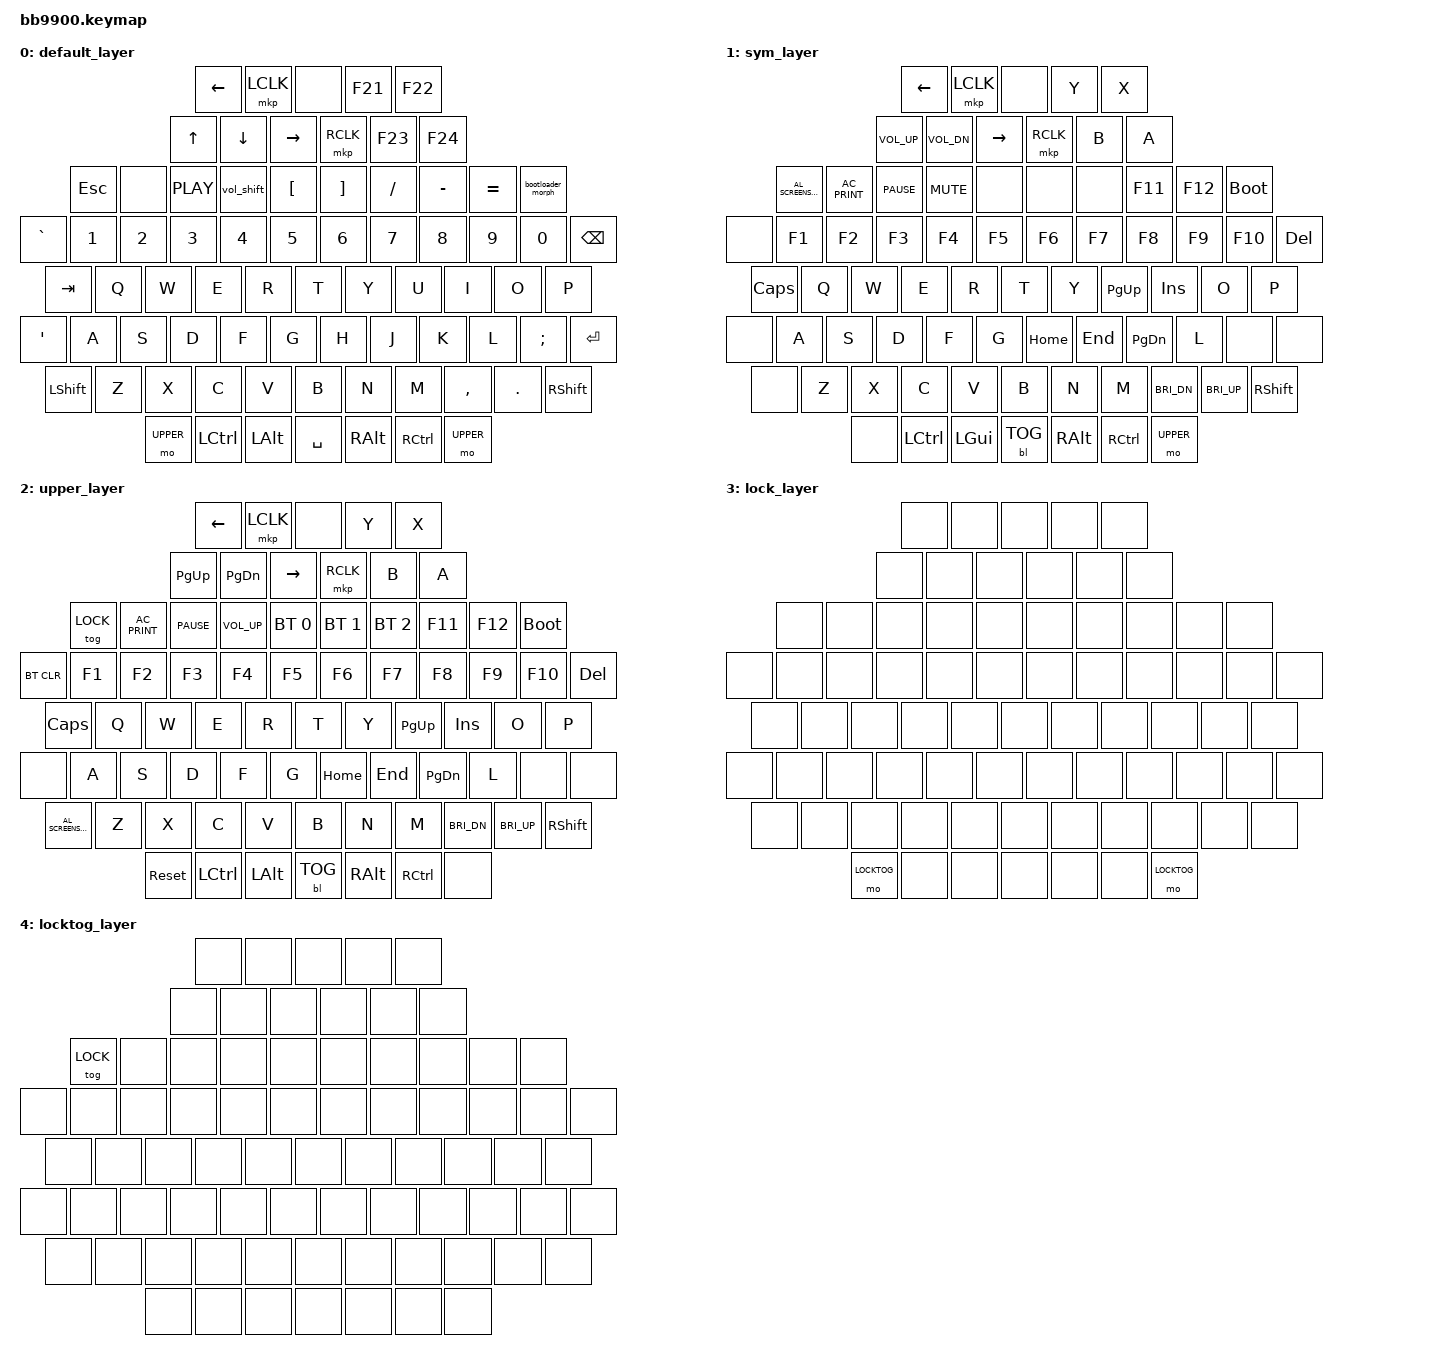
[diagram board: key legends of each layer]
/*
 * Copyright (c) 2023 ZitaoTech
 *
 * SPDX-License-Identifier: MIT
 */
    
#include <behaviors.dtsi>
#include <dt-bindings/zmk/keys.h>
#include <dt-bindings/zmk/bt.h>
#include <dt-bindings/zmk/outputs.h>
#include <dt-bindings/zmk/mouse.h>
#include <dt-bindings/zmk/backlight.h>
#include <dt-bindings/zmk/ext_power.h>
#include <dt-bindings/zmk/modifiers.h>

#define SYM 1
#define UPPER 2
#define LOCK 3
#define LOCKTOG 4 


/ {
    behaviors {
        td0: tap_dance_0 {
            compatible = "zmk,behavior-tap-dance";
            #binding-cells = <0>;
            tapping-term-ms = <400>;
            bindings = <&mkp LCLK>, <&bt BT_CLR>;
        };
    };
    behaviors {
        hm: homerow_mods {
            compatible = "zmk,behavior-hold-tap";
            #binding-cells = <2>;
            tapping-term-ms = <500>;
            bindings = <&out &kp>;
        };
    };

    // Bootloader-combo hardening (see NOTES.md, "flash mode" combo and the
    // Enter key bugfix). Adds Left-Ctrl+Left-Alt+\ as a NEW, additional way
    // into the bootloader, alongside the existing bare Fn+\ binding in
    // sym_layer/upper_layer below (left untouched on purpose. TODO: check
    // with the kb maker before ever removing it, other users may already
    // rely on the documented Fn+\).
    //
    // Originally implemented as a ZMK `combos` block, which turned out to
    // silently break the Enter key (confirmed via bisection across several
    // builds: Enter worked with zero changes, broke the moment any combos
    // block existed, regardless of which keys it referenced). Root cause
    // not fully proven, but not worth re-attempting: this mod-morph
    // approach sidesteps the combo subsystem entirely. Bound directly to
    // the Backslash position instead: normal \ press behaves exactly as
    // before, but pressing it while Ctrl+Alt are held sends &bootloader.
    // Same gesture for the user, a much simpler mechanism under the hood:
    // a per-position modifier check at press time, not global multi-key
    // position tracking with timeouts.
    behaviors {
        bootloader_morph: bootloader_morph {
            compatible = "zmk,behavior-mod-morph";
            #binding-cells = <0>;
            bindings = <&kp BACKSLASH>, <&bootloader>;
            mods = <(MOD_LCTL|MOD_LALT)>;
        };
    };

    // Volume/Mute fix (see NOTES.md): Speaker key alone = Volume Down,
    // Shift+Speaker = Volume Up, matching ClusterM's factory-spec
    // do_the_key() behavior. Both Fn layers separately rebound to Mute.
    // A plain mod-morph can't do this correctly on its own: Consumer-page
    // reports have no modifier byte, so Shift stays reported as held the
    // whole time and breaks strict WM keybind matching. vol_shift is a
    // custom behavior (zmk fork, src/behaviors/behavior_vol_shift.c) that
    // explicitly releases and restores the Shift bit around the press.
    behaviors {
        vol_shift: vol_shift {
            compatible = "zmk,behavior-vol-shift";
            #binding-cells = <0>;
        };
    };

    keymap {
        compatible = "zmk,keymap";

        default_layer {

            bindings = <
//---------------------------------------------------------------------------------------------------------
// |  ←  | ↑   | ↓   | →   |  Mleft  |  Mright |  Trackpad    |  Y  |  B  |  X  |  A  |                                       
// |  ESC   |  SELECT  | Start |                 voive  |   [  |  ]  |   /  |  -  |  =  |  \  |
// |   ~   |  1  |  2  |  3  |  4  |  5  |  6  |  7  |  8  |  9  |  0  |  Backspace  |
// |   TAB   |  Q  |  W  |  E  |  R  |  T  |  Y  |  U  |  I  |  O  |  P  | 
// |    '      |  A  |  S  |  D  |  F  |  G  |  H  |  J  |  K  |  L  |  ;  |     ENTER   |  
// |  LShift  |  Z  |  X  |  C  |  V  |  B  |  N  |  M  |  <  |  >  |  ;  |  RShift  |  
//        |  Fn  |  LCtrl  |  Alt   |      SPACE      |   Alt   |  RCtrl   |  Fn   |  
//        -----------------------------------------------------------------------------------------------------------------
            &kp LEFT                      &mkp LCLK         &none      &kp F21   &kp F22
&kp UP   &kp DOWN &kp RIGHT               &mkp RCLK                       &kp  F23      &kp F24
&kp ESC    &none  &kp C_PLAY &vol_shift    &kp LBKT   &kp RBKT   &kp FSLH   &kp MINUS  &kp  EQUAL &bootloader_morph
&kp GRAVE  &kp N1        &kp N2     &kp N3   &kp N4     &kp N5     &kp N6     &kp N7     &kp N8    &kp N9  &kp N0 &kp BSPC
&kp TAB     &kp Q         &kp W      &kp E    &kp R      &kp T      &kp Y      &kp U      &kp I     &kp O   &kp P
&kp SQT     &kp A         &kp S      &kp D    &kp F      &kp G      &kp H      &kp J      &kp K     &kp L   &kp SEMICOLON &kp ENTER        
&kp LSHFT   &kp Z         &kp X      &kp C    &kp V      &kp B      &kp N      &kp M      &kp COMMA &kp DOT &kp RSHFT
  &mo UPPER   &kp LCTRL               &kp LALT              &kp SPACE           &kp RALT         &kp RCTRL     &mo UPPER        
            >;
        };


        sym_layer {

            bindings = <
        &kp LEFT                      &mkp LCLK         &none      &kp Y   &kp X
&kp K_VOL_UP   &kp K_VOL_DN &kp RIGHT               &mkp RCLK                       &kp  B      &kp A
&kp C_AL_SCREENSAVER  &kp C_AC_PRINT &kp C_PAUSE  &kp C_MUTE &none   &none   &none   &kp F11    &kp F12   &bootloader
&none    &kp F1         &kp F2        &kp F3     &kp F4     &kp F5     &kp F6     &kp F7     &kp F8    &kp F9  &kp F10 &kp DEL
&kp CAPSLOCK    &kp Q          &kp W         &kp E      &kp R      &kp T      &kp Y      &kp PAGE_UP      &kp INSERT     &kp O   &kp P
&none    &kp A          &kp S         &kp D      &kp F      &kp G      &kp HOME      &kp END      &kp PAGE_DOWN     &kp L   &none &none         
&none    &kp Z          &kp X         &kp C      &kp V      &kp B      &kp N      &kp M      &kp C_BRI_DN &kp C_BRI_UP &kp RSHFT
  &none  &kp LCTRL               &kp LGUI             &bl BL_TOG           &kp RALT         &kp RCTRL     &mo UPPER

            >;
        };


        upper_layer {

            bindings = <
        &kp LEFT                      &mkp LCLK         &none      &kp Y   &kp X
&kp PAGE_UP   &kp PAGE_DOWN &kp RIGHT               &mkp RCLK                       &kp  B      &kp A
&tog LOCK  &kp C_AC_PRINT &kp C_PAUSE  &kp K_VOL_UP &bt BT_SEL 0   &bt BT_SEL 1   &bt BT_SEL 2   &kp F11    &kp F12   &bootloader
&bt BT_CLR     &kp F1          &kp F2         &kp F3      &kp F4     &kp F5     &kp F6     &kp F7     &kp F8    &kp F9  &kp F10 &kp DEL
&kp CAPSLOCK    &kp Q          &kp W         &kp E      &kp R      &kp T      &kp Y      &kp PAGE_UP      &kp INSERT     &kp O   &kp P
&none    &kp A          &kp S         &kp D      &kp F      &kp G      &kp HOME      &kp END      &kp PAGE_DOWN     &kp L   &none &none         
&kp C_AL_SCREENSAVER    &kp Z          &kp X         &kp C      &kp V      &kp B      &kp N      &kp M      &kp C_BRI_DN &kp C_BRI_UP &kp RSHFT
  &sys_reset  &kp LCTRL               &kp LALT             &bl BL_TOG           &kp RALT         &kp RCTRL     &none           

            >;
        };


        lock_layer {

            bindings = <
        &none                      &none         &none      &none   &none
&none   &none &none               &none                       &none      &none
&none  &none &none  &none &none   &none   &none   &none    &none   &none
&none     &none         &none         &none      &none     &none     &none     &none     &none    &none  &none &none
&none    &none          &none         &none      &none      &none      &none      &none      &none     &none   &none
&none    &none          &none         &none      &none      &none      &none      &none      &none     &none   &none &none         
&none    &none          &none         &none      &none      &none      &none      &none      &none &none &none
  &mo LOCKTOG  &none               &none             &none           &none         &none     &mo LOCKTOG           

            >;
        };


        locktog_layer {

            bindings = <
        &none                      &none         &none      &none   &none
&none   &none &none               &none                       &none      &none
&tog LOCK  &none &none  &none &none   &none   &none   &none    &none   &none
&none     &none         &none         &none      &none     &none     &none     &none     &none    &none  &none &none
&none    &none          &none         &none      &none      &none      &none      &none      &none     &none   &none
&none    &none          &none         &none      &none      &none      &none      &none      &none     &none   &none &none         
&none    &none          &none         &none      &none      &none      &none      &none      &none &none &none
  &none  &none               &none             &none           &none         &none     &none           

            >;
        };
    };
};

